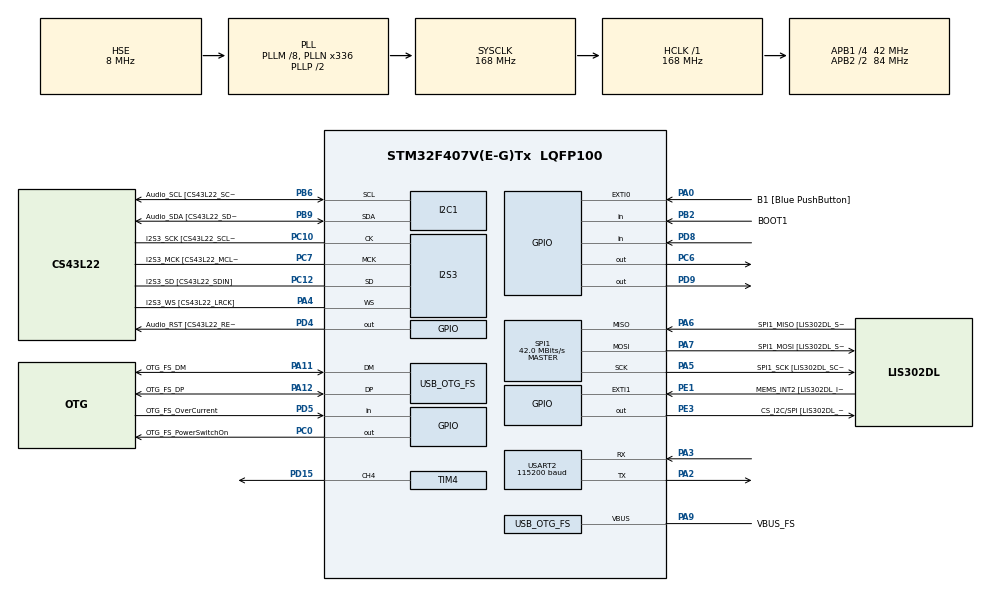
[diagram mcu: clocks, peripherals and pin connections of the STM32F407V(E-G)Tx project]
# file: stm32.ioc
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I2S3.AudioFreq-Half_Duplex_Master=I2S_AUDIOFREQ_96K
I2S3.ErrorAudioFreq=-2.34 %
I2S3.ErrorAudioFreq-Half_Duplex_Master=0.8 %
I2S3.FullDuplexMode=I2S_FULLDUPLEXMODE_DISABLE
I2S3.Instance=SPI$Index
I2S3.RealAudioFreq=93.75 KHz
I2S3.RealAudioFreq-Half_Duplex_Master=96.774 KHz
I2S3.VirtualMode=I2S_MODE_MASTER
Mcu.Family=STM32F4
Mcu.Name=STM32F407V(E-G)Tx
Mcu.Package=LQFP100
NVIC.OTG_FS_IRQn=true\:0\:0\:false\:false\:true\:true\:true
NVIC.PriorityGroup=NVIC_PRIORITYGROUP_0
NVIC.TIM4_IRQn=true\:0\:0\:true\:false\:true\:true\:true
PA0-WKUP.GPIO_Label=B1 [Blue PushButton]
PA0-WKUP.GPIO_ModeDefaultEXTI=GPIO_MODE_EVT_RISING
PA0-WKUP.GPIO_PuPd=GPIO_NOPULL
PA0-WKUP.Signal=GPXTI0
PA10.GPIO_Label=OTG_FS_ID
PA10.GPIO_Mode=GPIO_MODE_AF_PP
PA10.GPIO_PuPd=GPIO_NOPULL
PA10.GPIO_Speed=GPIO_SPEED_FREQ_LOW
PA10.Signal=USB_OTG_FS_ID
PA11.GPIO_Label=OTG_FS_DM
PA11.GPIO_Mode=GPIO_MODE_AF_PP
PA11.GPIO_PuPd=GPIO_NOPULL
PA11.GPIO_Speed=GPIO_SPEED_FREQ_LOW
PA11.Mode=Host_Only
PA11.Signal=USB_OTG_FS_DM
PA12.GPIO_Label=OTG_FS_DP
PA12.GPIO_Mode=GPIO_MODE_AF_PP
PA12.GPIO_PuPd=GPIO_NOPULL
PA12.GPIO_Speed=GPIO_SPEED_FREQ_LOW
PA12.Mode=Host_Only
PA12.Signal=USB_OTG_FS_DP
PA13.GPIO_Label=SWDIO
PA13.Mode=Serial_Wire
PA13.Signal=SYS_JTMS-SWDIO
PA14.GPIO_Label=SWCLK
PA14.Mode=Serial_Wire
PA14.Signal=SYS_JTCK-SWCLK
PA2.Mode=Asynchronous
PA2.Signal=USART2_TX
PA3.Mode=Asynchronous
PA3.Signal=USART2_RX
PA4.GPIO_Label=I2S3_WS [CS43L22_LRCK]
PA4.GPIO_Mode=GPIO_MODE_AF_PP
PA4.GPIO_PuPd=GPIO_NOPULL
PA4.GPIO_Speed=GPIO_SPEED_FREQ_LOW
PA4.Mode=Half_Duplex_Master
PA4.Signal=I2S3_WS
PA5.GPIO_Label=SPI1_SCK [LIS302DL_SCL/SPC]
PA5.GPIO_Mode=GPIO_MODE_AF_PP
PA5.GPIO_PuPd=GPIO_NOPULL
PA5.GPIO_Speed=GPIO_SPEED_FREQ_LOW
PA5.Mode=Full_Duplex_Master
PA5.Signal=SPI1_SCK
PA6.GPIO_Label=SPI1_MISO [LIS302DL_SDO]
PA6.GPIO_Mode=GPIO_MODE_AF_PP
PA6.GPIO_PuPd=GPIO_NOPULL
PA6.GPIO_Speed=GPIO_SPEED_FREQ_LOW
PA6.Mode=Full_Duplex_Master
PA6.Signal=SPI1_MISO
PA7.GPIO_Label=SPI1_MOSI [LIS302DL_SDA/SDI/SDO]
PA7.GPIO_Mode=GPIO_MODE_AF_PP
PA7.GPIO_PuPd=GPIO_NOPULL
PA7.GPIO_Speed=GPIO_SPEED_FREQ_LOW
PA7.Mode=Full_Duplex_Master
PA7.Signal=SPI1_MOSI
PA9.GPIO_Label=VBUS_FS
PA9.GPIO_Mode=GPIO_MODE_INPUT
PA9.GPIO_PuPd=GPIO_NOPULL
PA9.Mode=Activate_VBUS
PA9.Signal=USB_OTG_FS_VBUS
PB10.GPIO_Label=CLK_IN [MP45DT02_CLK]
PB10.GPIO_Mode=GPIO_MODE_AF_PP
PB10.GPIO_PuPd=GPIO_NOPULL
PB10.GPIO_Speed=GPIO_SPEED_FREQ_LOW
PB10.Signal=I2S2_CK
PB2.GPIO_Label=BOOT1
PB2.GPIO_Mode=GPIO_MODE_INPUT
PB2.GPIO_PuPd=GPIO_NOPULL
PB2.Signal=GPIO_Input
PB3.GPIO_Label=SWO
PB3.Signal=SYS_JTDO-SWO
PB6.GPIO_Label=Audio_SCL [CS43L22_SCL]
PB6.GPIO_Mode=GPIO_MODE_AF_OD
PB6.GPIO_PuPd=GPIO_NOPULL
PB6.GPIO_Speed=GPIO_SPEED_FREQ_LOW
PB6.Mode=I2C
PB6.Signal=I2C1_SCL
PB9.GPIO_Label=Audio_SDA [CS43L22_SDA]
PB9.GPIO_Mode=GPIO_MODE_AF_OD
PB9.GPIO_PuPd=GPIO_NOPULL
PB9.GPIO_Speed=GPIO_SPEED_FREQ_LOW
PB9.Mode=I2C
PB9.Signal=I2C1_SDA
PC0.GPIO_Label=OTG_FS_PowerSwitchOn
PC0.GPIO_PuPd=GPIO_NOPULL
PC0.GPIO_Speed=GPIO_SPEED_FREQ_LOW
PC0.PinState=GPIO_PIN_SET
PC0.Signal=GPIO_Output
PC10.GPIO_Label=I2S3_SCK [CS43L22_SCLK]
PC10.GPIO_Mode=GPIO_MODE_AF_PP
PC10.GPIO_PuPd=GPIO_NOPULL
PC10.GPIO_Speed=GPIO_SPEED_FREQ_LOW
PC10.Mode=Half_Duplex_Master
PC10.Signal=I2S3_CK
PC12.GPIO_Label=I2S3_SD [CS43L22_SDIN]
PC12.GPIO_Mode=GPIO_MODE_AF_PP
PC12.GPIO_PuPd=GPIO_NOPULL
PC12.GPIO_Speed=GPIO_SPEED_FREQ_LOW
PC12.Mode=Half_Duplex_Master
PC12.Signal=I2S3_SD
PC14-OSC32_IN.GPIO_Label=PC14-OSC32_IN
PC14-OSC32_IN.Mode=LSE-External-Oscillator
PC14-OSC32_IN.Signal=RCC_OSC32_IN
PC15-OSC32_OUT.GPIO_Label=PC15-OSC32_OUT
PC15-OSC32_OUT.Mode=LSE-External-Oscillator
PC15-OSC32_OUT.Signal=RCC_OSC32_OUT
PC3.GPIO_Label=PDM_OUT [MP45DT02_DOUT]
PC3.GPIO_Mode=GPIO_MODE_AF_PP
PC3.GPIO_PuPd=GPIO_NOPULL
PC3.GPIO_Speed=GPIO_SPEED_FREQ_LOW
PC3.Signal=I2S2_SD
PC6.Signal=GPIO_Output
PC7.GPIO_Label=I2S3_MCK [CS43L22_MCLK]
PC7.GPIO_Mode=GPIO_MODE_AF_PP
PC7.GPIO_PuPd=GPIO_NOPULL
PC7.GPIO_Speed=GPIO_SPEED_FREQ_LOW
PC7.Mode=Master_Clock_Activated
PC7.Signal=I2S3_MCK
PD15.Signal=S_TIM4_CH4
PD4.GPIO_Label=Audio_RST [CS43L22_RESET]
PD4.GPIO_PuPd=GPIO_NOPULL
PD4.GPIO_Speed=GPIO_SPEED_FREQ_LOW
PD4.Signal=GPIO_Output
PD5.GPIO_Label=OTG_FS_OverCurrent
PD5.GPIO_Mode=GPIO_MODE_INPUT
PD5.GPIO_PuPd=GPIO_NOPULL
PD5.Signal=GPIO_Input
PD8.Signal=GPIO_Input
PD9.Signal=GPIO_Output
PE1.GPIO_Label=MEMS_INT2 [LIS302DL_INT2]
PE1.GPIO_ModeDefaultEXTI=GPIO_MODE_EVT_RISING
PE1.GPIO_PuPd=GPIO_NOPULL
PE1.Signal=GPXTI1
PE3.GPIO_Label=CS_I2C/SPI [LIS302DL_CS_I2C/SPI]
PE3.GPIO_PuPd=GPIO_NOPULL
PE3.GPIO_Speed=GPIO_SPEED_FREQ_LOW
PE3.Signal=GPIO_Output
PH0-OSC_IN.GPIO_Label=PH0-OSC_IN
PH0-OSC_IN.Mode=HSE-External-Oscillator
PH0-OSC_IN.Signal=RCC_OSC_IN
PH1-OSC_OUT.GPIO_Label=PH1-OSC_OUT
PH1-OSC_OUT.Mode=HSE-External-Oscillator
PH1-OSC_OUT.Signal=RCC_OSC_OUT
ProjectManager.HeapSize=0x200
ProjectManager.StackSize=0x400
ProjectManager.TargetToolchain=STM32CubeIDE
RCC.48MHZClocksFreq_Value=48000000
RCC.AHBFreq_Value=168000000
RCC.APB1CLKDivider=RCC_HCLK_DIV4
RCC.APB1Freq_Value=42000000
RCC.APB1TimFreq_Value=84000000
RCC.APB2CLKDivider=RCC_HCLK_DIV2
RCC.APB2Freq_Value=84000000
RCC.APB2TimFreq_Value=168000000
RCC.CortexFreq_Value=168000000
RCC.HCLKFreq_Value=168000000
RCC.HSE_VALUE=8000000
RCC.HSI_VALUE=16000000
RCC.PLLM=8
RCC.PLLN=336
RCC.PLLQ=7
RCC.SYSCLKFreq_VALUE=168000000
RCC.SYSCLKSource=RCC_SYSCLKSOURCE_PLLCLK
RCC.VCOOutputFreq_Value=336000000
SH.S_TIM4_CH4.0=TIM4_CH4,PWM Generation4 CH4
SPI1.BaudRatePrescaler-Full_Duplex_Master=SPI_BAUDRATEPRESCALER_2
SPI1.CalculateBaudRate=42.0 MBits/s
SPI1.CalculateBaudRate-Full_Duplex_Master=42.0 MBits/s
SPI1.Direction=SPI_DIRECTION_2LINES
SPI1.Mode=SPI_MODE_MASTER
SPI1.Mode-Full_Duplex_Master=SPI_MODE_MASTER
SPI1.VirtualType=VM_MASTER
TIM3.AutoReloadPreload=TIM_AUTORELOAD_PRELOAD_ENABLE
TIM3.Period=1000
TIM3.Prescaler=167
TIM4.AutoReloadPreload=TIM_AUTORELOAD_PRELOAD_ENABLE
TIM4.Channel-PWM\ Generation4\ CH4=TIM_CHANNEL_4
TIM4.ClockDivision=TIM_CLOCKDIVISION_DIV1
TIM4.CounterMode=TIM_COUNTERMODE_UP
TIM4.Period=1000
TIM4.Prescaler=167
TIM4.TIM_MasterSlaveMode=TIM_MASTERSLAVEMODE_DISABLE
USART2.BaudRate=115200
USART2.VirtualMode=VM_ASYNC
USB_HOST.BSP.number=1
USB_HOST.USBH_HandleTypeDef-CDC_FS=hUsbHostFS
USB_HOST.VirtualModeFS=Cdc
USB_HOST0.BSP.STBoard=false
USB_HOST0.BSP.api=Unknown
USB_HOST0.BSP.i2caddr=0
USB_HOST0.BSP.i2creg=0
USB_HOST0.BSP.instance=PC0
USB_HOST0.BSP.ip=GPIO
USB_HOST0.BSP.mode=Output
USB_HOST0.BSP.name=Drive_VBUS_FS
USB_HOST0.BSP.solution=PC0
USB_OTG_FS.VirtualMode=Host_Only
USB_OTG_FS.phy_itface=HCD_PHY_EMBEDDED
VP_TIM3_VS_ClockSourceINT.Mode=Internal
VP_TIM4_VS_ClockSourceINT.Mode=Internal
VP_USB_HOST_VS_USB_HOST_CDC_FS.Mode=CDC_FS
board=STM32F4DISCOVERY

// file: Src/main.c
/* USER CODE BEGIN Header */
/**
  ******************************************************************************
  * @file           : main.c
  * @brief          : Main program body
  ******************************************************************************
  * @attention
  *
  * <h2><center>&copy; Copyright (c) 2019 STMicroelectronics.
  * All rights reserved.</center></h2>
  *
  * This software component is licensed by ST under Ultimate Liberty license
  * SLA0044, the "License"; You may not use this file except in compliance with
  * the License. You may obtain a copy of the License at:
  *                             www.st.com/SLA0044
  *
  ******************************************************************************
  */
/* USER CODE END Header */

#include "main.h"
#include "usb_host.h"

I2C_HandleTypeDef hi2c1;

I2S_HandleTypeDef hi2s3;

SPI_HandleTypeDef hspi1;

TIM_HandleTypeDef htim3;
TIM_HandleTypeDef htim4;

UART_HandleTypeDef huart2;

/* USER CODE BEGIN PV */
double input_capture=0.0;
int s=0;
double dist = 0.0;
int IC_Val1 = 0;
int IC_Val2 = 0;
int isFirstCap = 0;
int pData[10];
int cnt = 0;
int c;
int t = 200;
char buf[3];
char notify[] = "n";
char notNotify[] = "m";
/* USER CODE END PV */

void SystemClock_Config(void);
static void MX_GPIO_Init(void);
static void MX_I2C1_Init(void);
static void MX_I2S3_Init(void);
static void MX_SPI1_Init(void);
static void MX_TIM3_Init(void);
static void MX_TIM4_Init(void);
static void MX_USART2_UART_Init(void);
void MX_USB_HOST_Process(void);

/* USER CODE BEGIN 0 */
/*void HAL_TIM_IC_CaptureCallback(TIM_HandleTypeDef *htim)
{
 if (htim->Instance==TIM4)
  {
	 if(isFirstCap ==0){
		 IC_Val1 = HAL_TIM_ReadCapturedValue(&htim4, TIM_CHANNEL_1);
		 isFirstCap=1;
		 __HAL_TIM_SET_CAPTUREPOLARITY(&htim4, TIM_CHANNEL_1, TIM_INPUTCHANNELPOLARITY_FALLING);
	 }
	 else if(isFirstCap == 1){
		 IC_Val2 = HAL_TIM_ReadCapturedValue(&htim4, TIM_CHANNEL_1);
		 __HAL_TIM_SET_COUNTER(&htim4, 0);
		 if(IC_Val2 > IC_Val1){
			 dist = IC_Val2-IC_Val1;
		 }
		 isFirstCap = 0;
		 __HAL_TIM_SET_CAPTUREPOLARITY(&htim4, TIM_CHANNEL_1, TIM_INPUTCHANNELPOLARITY_RISING);

	 }

  }
}*/
void delay (uint32_t us)
{
	__HAL_TIM_SET_COUNTER(&htim4, 0);
	while ((__HAL_TIM_GET_COUNTER(&htim4))<us);
}
uint32_t hcsr04_read (void)
{
	uint32_t local_time=0;
	HAL_GPIO_WritePin(GPIOD, GPIO_PIN_9, GPIO_PIN_RESET);  // pull the TRIG pin HIGH
	delay(2);  // wait for 2 us

	HAL_GPIO_WritePin(GPIOD, GPIO_PIN_9, GPIO_PIN_SET);  // pull the TRIG pin HIGH
	delay(10);  // wait for 10 us
	HAL_GPIO_WritePin(GPIOD, GPIO_PIN_9, GPIO_PIN_RESET);  // pull the TRIG pin low

	// read the time for which the pin is high

	while (!(HAL_GPIO_ReadPin(GPIOD, GPIO_PIN_8)));  // wait for the ECHO pin to go high
	while (HAL_GPIO_ReadPin(GPIOD, GPIO_PIN_8))    // while the pin is high
	 {
		local_time++;   // measure time for which the pin is high
		delay (1);
	 }
	return local_time;
}
/* USER CODE END 0 */

int main(void)
{

  /* MCU Configuration--------------------------------------------------------*/

  /* Reset of all peripherals, Initializes the Flash interface and the Systick. */
  HAL_Init();

  /* Configure the system clock */
  SystemClock_Config();

  /* Initialize all configured peripherals */
  MX_GPIO_Init();
  MX_I2C1_Init();
  MX_I2S3_Init();
  MX_SPI1_Init();
  MX_USB_HOST_Init();
  MX_TIM3_Init();
  MX_TIM4_Init();
  MX_USART2_UART_Init();
  /* USER CODE BEGIN 2 */
  HAL_TIM_PWM_Start(&htim4, TIM_CHANNEL_4);
  //HAL_TIM_IC_Start_IT(&htim4,TIM_CHANNEL_1);
  /* USER CODE END 2 */

  /* Infinite loop */
  while (1)
  {
    MX_USB_HOST_Process();

    /* USER CODE BEGIN 3 */
    uint32_t sensor_time = hcsr04_read();
    dist  = sensor_time * .034;
    if (HAL_UART_Receive(&huart2, &buf, 3, 50) == HAL_OK){
        sscanf(buf, "%d", &t);
    }
    pData[cnt] = (int)dist;
    if(cnt == 9){
    	cnt = -1;
    	c = 0;
    	for(int i = 0; i < 10; i++){
    		if(pData[i] < t){
    			c++;
    		}
    	}
    	if(c > 1){
    		HAL_UART_Transmit(&huart2, notify, 1, 50);
    	}else{
    		HAL_UART_Transmit(&huart2, notNotify, 1, 50);
    	}
    }
    cnt++;
    HAL_Delay(50);
  }
  /* USER CODE END 3 */
}

void SystemClock_Config(void)
{
  RCC_OscInitTypeDef RCC_OscInitStruct = {0};
  RCC_ClkInitTypeDef RCC_ClkInitStruct = {0};
  RCC_PeriphCLKInitTypeDef PeriphClkInitStruct = {0};

  /** Configure the main internal regulator output voltage
  */
  __HAL_RCC_PWR_CLK_ENABLE();
  __HAL_PWR_VOLTAGESCALING_CONFIG(PWR_REGULATOR_VOLTAGE_SCALE1);
  /** Initializes the CPU, AHB and APB busses clocks
  */
  RCC_OscInitStruct.OscillatorType = RCC_OSCILLATORTYPE_HSE;
  RCC_OscInitStruct.HSEState = RCC_HSE_ON;
  RCC_OscInitStruct.PLL.PLLState = RCC_PLL_ON;
  RCC_OscInitStruct.PLL.PLLSource = RCC_PLLSOURCE_HSE;
  RCC_OscInitStruct.PLL.PLLM = 8;
  RCC_OscInitStruct.PLL.PLLN = 336;
  RCC_OscInitStruct.PLL.PLLP = RCC_PLLP_DIV2;
  RCC_OscInitStruct.PLL.PLLQ = 7;
  if (HAL_RCC_OscConfig(&RCC_OscInitStruct) != HAL_OK)
  {
    Error_Handler();
  }
  /** Initializes the CPU, AHB and APB busses clocks
  */
  RCC_ClkInitStruct.ClockType = RCC_CLOCKTYPE_HCLK|RCC_CLOCKTYPE_SYSCLK
                              |RCC_CLOCKTYPE_PCLK1|RCC_CLOCKTYPE_PCLK2;
  RCC_ClkInitStruct.SYSCLKSource = RCC_SYSCLKSOURCE_PLLCLK;
  RCC_ClkInitStruct.AHBCLKDivider = RCC_SYSCLK_DIV1;
  RCC_ClkInitStruct.APB1CLKDivider = RCC_HCLK_DIV4;
  RCC_ClkInitStruct.APB2CLKDivider = RCC_HCLK_DIV2;

  if (HAL_RCC_ClockConfig(&RCC_ClkInitStruct, FLASH_LATENCY_5) != HAL_OK)
  {
    Error_Handler();
  }
  PeriphClkInitStruct.PeriphClockSelection = RCC_PERIPHCLK_I2S;
  PeriphClkInitStruct.PLLI2S.PLLI2SN = 192;
  PeriphClkInitStruct.PLLI2S.PLLI2SR = 2;
  if (HAL_RCCEx_PeriphCLKConfig(&PeriphClkInitStruct) != HAL_OK)
  {
    Error_Handler();
  }
}

static void MX_I2C1_Init(void)
{

  hi2c1.Instance = I2C1;
  hi2c1.Init.ClockSpeed = 100000;
  hi2c1.Init.DutyCycle = I2C_DUTYCYCLE_2;
  hi2c1.Init.OwnAddress1 = 0;
  hi2c1.Init.AddressingMode = I2C_ADDRESSINGMODE_7BIT;
  hi2c1.Init.DualAddressMode = I2C_DUALADDRESS_DISABLE;
  hi2c1.Init.OwnAddress2 = 0;
  hi2c1.Init.GeneralCallMode = I2C_GENERALCALL_DISABLE;
  hi2c1.Init.NoStretchMode = I2C_NOSTRETCH_DISABLE;
  if (HAL_I2C_Init(&hi2c1) != HAL_OK)
  {
    Error_Handler();
  }

}

static void MX_I2S3_Init(void)
{

  hi2s3.Instance = SPI3;
  hi2s3.Init.Mode = I2S_MODE_MASTER_TX;
  hi2s3.Init.Standard = I2S_STANDARD_PHILIPS;
  hi2s3.Init.DataFormat = I2S_DATAFORMAT_16B;
  hi2s3.Init.MCLKOutput = I2S_MCLKOUTPUT_ENABLE;
  hi2s3.Init.AudioFreq = I2S_AUDIOFREQ_96K;
  hi2s3.Init.CPOL = I2S_CPOL_LOW;
  hi2s3.Init.ClockSource = I2S_CLOCK_PLL;
  hi2s3.Init.FullDuplexMode = I2S_FULLDUPLEXMODE_DISABLE;
  if (HAL_I2S_Init(&hi2s3) != HAL_OK)
  {
    Error_Handler();
  }

}

static void MX_SPI1_Init(void)
{

  /* SPI1 parameter configuration*/
  hspi1.Instance = SPI1;
  hspi1.Init.Mode = SPI_MODE_MASTER;
  hspi1.Init.Direction = SPI_DIRECTION_2LINES;
  hspi1.Init.DataSize = SPI_DATASIZE_8BIT;
  hspi1.Init.CLKPolarity = SPI_POLARITY_LOW;
  hspi1.Init.CLKPhase = SPI_PHASE_1EDGE;
  hspi1.Init.NSS = SPI_NSS_SOFT;
  hspi1.Init.BaudRatePrescaler = SPI_BAUDRATEPRESCALER_2;
  hspi1.Init.FirstBit = SPI_FIRSTBIT_MSB;
  hspi1.Init.TIMode = SPI_TIMODE_DISABLE;
  hspi1.Init.CRCCalculation = SPI_CRCCALCULATION_DISABLE;
  hspi1.Init.CRCPolynomial = 10;
  if (HAL_SPI_Init(&hspi1) != HAL_OK)
  {
    Error_Handler();
  }

}

static void MX_TIM3_Init(void)
{

  TIM_ClockConfigTypeDef sClockSourceConfig = {0};
  TIM_MasterConfigTypeDef sMasterConfig = {0};

  htim3.Instance = TIM3;
  htim3.Init.Prescaler = 167;
  htim3.Init.CounterMode = TIM_COUNTERMODE_UP;
  htim3.Init.Period = 1000;
  htim3.Init.ClockDivision = TIM_CLOCKDIVISION_DIV1;
  htim3.Init.AutoReloadPreload = TIM_AUTORELOAD_PRELOAD_ENABLE;
  if (HAL_TIM_Base_Init(&htim3) != HAL_OK)
  {
    Error_Handler();
  }
  sClockSourceConfig.ClockSource = TIM_CLOCKSOURCE_INTERNAL;
  if (HAL_TIM_ConfigClockSource(&htim3, &sClockSourceConfig) != HAL_OK)
  {
    Error_Handler();
  }
  sMasterConfig.MasterOutputTrigger = TIM_TRGO_RESET;
  sMasterConfig.MasterSlaveMode = TIM_MASTERSLAVEMODE_DISABLE;
  if (HAL_TIMEx_MasterConfigSynchronization(&htim3, &sMasterConfig) != HAL_OK)
  {
    Error_Handler();
  }

}

static void MX_TIM4_Init(void)
{

  TIM_ClockConfigTypeDef sClockSourceConfig = {0};
  TIM_MasterConfigTypeDef sMasterConfig = {0};
  TIM_OC_InitTypeDef sConfigOC = {0};

  htim4.Instance = TIM4;
  htim4.Init.Prescaler = 167;
  htim4.Init.CounterMode = TIM_COUNTERMODE_UP;
  htim4.Init.Period = 1000;
  htim4.Init.ClockDivision = TIM_CLOCKDIVISION_DIV1;
  htim4.Init.AutoReloadPreload = TIM_AUTORELOAD_PRELOAD_ENABLE;
  if (HAL_TIM_Base_Init(&htim4) != HAL_OK)
  {
    Error_Handler();
  }
  sClockSourceConfig.ClockSource = TIM_CLOCKSOURCE_INTERNAL;
  if (HAL_TIM_ConfigClockSource(&htim4, &sClockSourceConfig) != HAL_OK)
  {
    Error_Handler();
  }
  if (HAL_TIM_PWM_Init(&htim4) != HAL_OK)
  {
    Error_Handler();
  }
  sMasterConfig.MasterOutputTrigger = TIM_TRGO_RESET;
  sMasterConfig.MasterSlaveMode = TIM_MASTERSLAVEMODE_DISABLE;
  if (HAL_TIMEx_MasterConfigSynchronization(&htim4, &sMasterConfig) != HAL_OK)
  {
    Error_Handler();
  }
  sConfigOC.OCMode = TIM_OCMODE_PWM1;
  sConfigOC.Pulse = 0;
  sConfigOC.OCPolarity = TIM_OCPOLARITY_HIGH;
  sConfigOC.OCFastMode = TIM_OCFAST_DISABLE;
  if (HAL_TIM_PWM_ConfigChannel(&htim4, &sConfigOC, TIM_CHANNEL_4) != HAL_OK)
  {
    Error_Handler();
  }
  HAL_TIM_MspPostInit(&htim4);

}

static void MX_USART2_UART_Init(void)
{

  huart2.Instance = USART2;
  huart2.Init.BaudRate = 115200;
  huart2.Init.WordLength = UART_WORDLENGTH_8B;
  huart2.Init.StopBits = UART_STOPBITS_1;
  huart2.Init.Parity = UART_PARITY_NONE;
  huart2.Init.Mode = UART_MODE_TX_RX;
  huart2.Init.HwFlowCtl = UART_HWCONTROL_NONE;
  huart2.Init.OverSampling = UART_OVERSAMPLING_16;
  if (HAL_UART_Init(&huart2) != HAL_OK)
  {
    Error_Handler();
  }

}

static void MX_GPIO_Init(void)
{
  GPIO_InitTypeDef GPIO_InitStruct = {0};

  /* GPIO Ports Clock Enable */
  __HAL_RCC_GPIOE_CLK_ENABLE();
  __HAL_RCC_GPIOC_CLK_ENABLE();
  __HAL_RCC_GPIOH_CLK_ENABLE();
  __HAL_RCC_GPIOA_CLK_ENABLE();
  __HAL_RCC_GPIOB_CLK_ENABLE();
  __HAL_RCC_GPIOD_CLK_ENABLE();

  /*Configure GPIO pin Output Level */
  HAL_GPIO_WritePin(CS_I2C_SPI_GPIO_Port, CS_I2C_SPI_Pin, GPIO_PIN_RESET);

  /*Configure GPIO pin Output Level */
  HAL_GPIO_WritePin(OTG_FS_PowerSwitchOn_GPIO_Port, OTG_FS_PowerSwitchOn_Pin, GPIO_PIN_SET);

  /*Configure GPIO pin Output Level */
  HAL_GPIO_WritePin(GPIOD, GPIO_PIN_9|Audio_RST_Pin, GPIO_PIN_RESET);

  /*Configure GPIO pin Output Level */
  HAL_GPIO_WritePin(GPIOC, GPIO_PIN_6, GPIO_PIN_RESET);

  /*Configure GPIO pin : CS_I2C_SPI_Pin */
  GPIO_InitStruct.Pin = CS_I2C_SPI_Pin;
  GPIO_InitStruct.Mode = GPIO_MODE_OUTPUT_PP;
  GPIO_InitStruct.Pull = GPIO_NOPULL;
  GPIO_InitStruct.Speed = GPIO_SPEED_FREQ_LOW;
  HAL_GPIO_Init(CS_I2C_SPI_GPIO_Port, &GPIO_InitStruct);

  /*Configure GPIO pins : OTG_FS_PowerSwitchOn_Pin PC6 */
  GPIO_InitStruct.Pin = OTG_FS_PowerSwitchOn_Pin|GPIO_PIN_6;
  GPIO_InitStruct.Mode = GPIO_MODE_OUTPUT_PP;
  GPIO_InitStruct.Pull = GPIO_NOPULL;
  GPIO_InitStruct.Speed = GPIO_SPEED_FREQ_LOW;
  HAL_GPIO_Init(GPIOC, &GPIO_InitStruct);

  /*Configure GPIO pin : PDM_OUT_Pin */
  GPIO_InitStruct.Pin = PDM_OUT_Pin;
  GPIO_InitStruct.Mode = GPIO_MODE_AF_PP;
  GPIO_InitStruct.Pull = GPIO_NOPULL;
  GPIO_InitStruct.Speed = GPIO_SPEED_FREQ_LOW;
  GPIO_InitStruct.Alternate = GPIO_AF5_SPI2;
  HAL_GPIO_Init(PDM_OUT_GPIO_Port, &GPIO_InitStruct);

  /*Configure GPIO pin : B1_Pin */
  GPIO_InitStruct.Pin = B1_Pin;
  GPIO_InitStruct.Mode = GPIO_MODE_EVT_RISING;
  GPIO_InitStruct.Pull = GPIO_NOPULL;
  HAL_GPIO_Init(B1_GPIO_Port, &GPIO_InitStruct);

  /*Configure GPIO pin : BOOT1_Pin */
  GPIO_InitStruct.Pin = BOOT1_Pin;
  GPIO_InitStruct.Mode = GPIO_MODE_INPUT;
  GPIO_InitStruct.Pull = GPIO_NOPULL;
  HAL_GPIO_Init(BOOT1_GPIO_Port, &GPIO_InitStruct);

  /*Configure GPIO pin : CLK_IN_Pin */
  GPIO_InitStruct.Pin = CLK_IN_Pin;
  GPIO_InitStruct.Mode = GPIO_MODE_AF_PP;
  GPIO_InitStruct.Pull = GPIO_NOPULL;
  GPIO_InitStruct.Speed = GPIO_SPEED_FREQ_LOW;
  GPIO_InitStruct.Alternate = GPIO_AF5_SPI2;
  HAL_GPIO_Init(CLK_IN_GPIO_Port, &GPIO_InitStruct);

  /*Configure GPIO pins : PD8 OTG_FS_OverCurrent_Pin */
  GPIO_InitStruct.Pin = GPIO_PIN_8|OTG_FS_OverCurrent_Pin;
  GPIO_InitStruct.Mode = GPIO_MODE_INPUT;
  GPIO_InitStruct.Pull = GPIO_NOPULL;
  HAL_GPIO_Init(GPIOD, &GPIO_InitStruct);

  /*Configure GPIO pins : PD9 Audio_RST_Pin */
  GPIO_InitStruct.Pin = GPIO_PIN_9|Audio_RST_Pin;
  GPIO_InitStruct.Mode = GPIO_MODE_OUTPUT_PP;
  GPIO_InitStruct.Pull = GPIO_NOPULL;
  GPIO_InitStruct.Speed = GPIO_SPEED_FREQ_LOW;
  HAL_GPIO_Init(GPIOD, &GPIO_InitStruct);

  /*Configure GPIO pin : MEMS_INT2_Pin */
  GPIO_InitStruct.Pin = MEMS_INT2_Pin;
  GPIO_InitStruct.Mode = GPIO_MODE_EVT_RISING;
  GPIO_InitStruct.Pull = GPIO_NOPULL;
  HAL_GPIO_Init(MEMS_INT2_GPIO_Port, &GPIO_InitStruct);

}

void Error_Handler(void)
{
}

/************************ (C) COPYRIGHT STMicroelectronics *****END OF FILE****/
